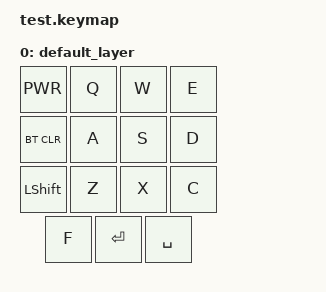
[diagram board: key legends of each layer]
#include <behaviors.dtsi>
#include <dt-bindings/zmk/keys.h>
#include <dt-bindings/zmk/bt.h>

/ {
    keymap {
        compatible = "zmk,keymap";

        default_layer {

            bindings = <
    &kp C_PWR &kp Q   &kp W   &kp E
    &bt BT_CLR &kp A   &kp S   &kp D
    &kp LSHIFT &kp Z   &kp X   &kp C
    &kp F   &kp RET &kp SPACE
            >;
        };
    };
};
